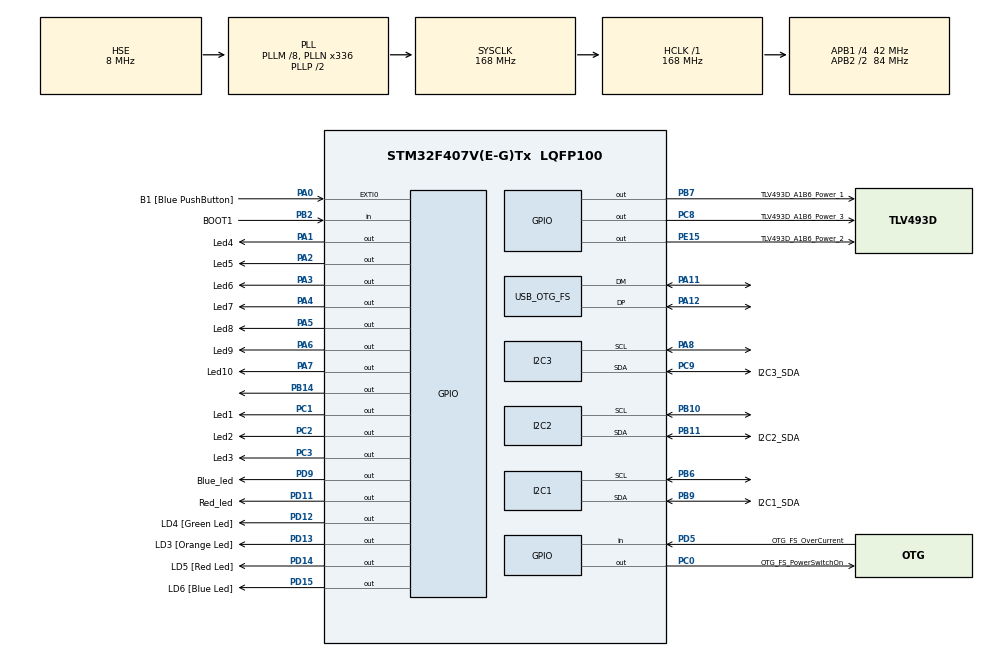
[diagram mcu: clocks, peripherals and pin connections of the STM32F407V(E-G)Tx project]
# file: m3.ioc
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I2C1.DutyCycle=I2C_DUTYCYCLE_2
I2C1.I2C_Mode=I2C_Fast
I2C1.NoStretchMode=I2C_NOSTRETCH_DISABLE
I2C2.I2C_Mode=I2C_Fast
I2C3.I2C_Mode=I2C_Fast
Mcu.Family=STM32F4
Mcu.Name=STM32F407V(E-G)Tx
Mcu.Package=LQFP100
NVIC.I2C1_ER_IRQn=true\:1\:2\:true\:false\:true\:true\:true\:true
NVIC.I2C1_EV_IRQn=true\:2\:2\:true\:false\:true\:true\:true\:true
NVIC.I2C2_ER_IRQn=true\:1\:2\:true\:false\:true\:true\:true\:true
NVIC.I2C2_EV_IRQn=true\:2\:2\:true\:false\:true\:true\:true\:true
NVIC.I2C3_ER_IRQn=true\:1\:2\:true\:false\:true\:true\:true\:true
NVIC.I2C3_EV_IRQn=true\:2\:2\:true\:false\:true\:true\:true\:true
NVIC.OTG_FS_IRQn=true\:1\:2\:true\:false\:true\:false\:true\:true
NVIC.PriorityGroup=NVIC_PRIORITYGROUP_2
NVIC.TIM1_CC_IRQn=true\:2\:2\:true\:false\:true\:true\:true\:false
NVIC.TIM1_UP_TIM10_IRQn=true\:2\:2\:true\:false\:true\:true\:true\:true
NVIC.TIM3_IRQn=true\:2\:2\:true\:false\:true\:true\:true\:true
NVIC.TIM5_IRQn=true\:2\:2\:true\:false\:true\:true\:true\:true
NVIC.TIM6_DAC_IRQn=true\:2\:2\:true\:false\:true\:true\:true\:true
NVIC.TIM7_IRQn=true\:2\:2\:true\:false\:true\:true\:true\:true
NVIC.TIM8_UP_TIM13_IRQn=true\:2\:2\:true\:false\:true\:true\:true\:true
PA0-WKUP.GPIO_Label=B1 [Blue PushButton]
PA0-WKUP.GPIO_ModeDefaultEXTI=GPIO_MODE_EVT_RISING
PA0-WKUP.GPIO_PuPd=GPIO_NOPULL
PA0-WKUP.Signal=GPXTI0
PA1.GPIO_Label=Led4
PA1.Signal=GPIO_Output
PA11.GPIO_Mode=GPIO_MODE_AF_PP
PA11.GPIO_PuPd=GPIO_NOPULL
PA11.GPIO_Speed=GPIO_SPEED_FREQ_VERY_HIGH
PA11.Mode=Device_Only
PA11.Signal=USB_OTG_FS_DM
PA12.GPIO_Mode=GPIO_MODE_AF_PP
PA12.GPIO_PuPd=GPIO_NOPULL
PA12.GPIO_Speed=GPIO_SPEED_FREQ_VERY_HIGH
PA12.Mode=Device_Only
PA12.Signal=USB_OTG_FS_DP
PA13.GPIO_Label=SWDIO
PA13.Mode=Serial_Wire
PA13.Signal=SYS_JTMS-SWDIO
PA14.GPIO_Label=SWCLK
PA14.Mode=Serial_Wire
PA14.Signal=SYS_JTCK-SWCLK
PA2.GPIO_Label=Led5
PA2.Signal=GPIO_Output
PA3.GPIO_Label=Led6
PA3.Signal=GPIO_Output
PA4.GPIO_Label=Led7
PA4.Signal=GPIO_Output
PA5.GPIO_Label=Led8
PA5.Signal=GPIO_Output
PA6.GPIO_Label=Led9
PA6.Signal=GPIO_Output
PA7.GPIO_Label=Led10
PA7.Signal=GPIO_Output
PA8.GPIO_Pu=GPIO_NOPULL
PA8.Mode=I2C
PA8.Signal=I2C3_SCL
PB10.GPIO_Pu=GPIO_NOPULL
PB10.Mode=I2C
PB10.Signal=I2C2_SCL
PB11.GPIO_Label=I2C2_SDA
PB11.GPIO_Pu=GPIO_NOPULL
PB11.Mode=I2C
PB11.Signal=I2C2_SDA
PB14.Signal=GPIO_Output
PB2.GPIO_Label=BOOT1
PB2.GPIO_Mode=GPIO_MODE_INPUT
PB2.GPIO_PuPd=GPIO_NOPULL
PB2.Signal=GPIO_Input
PB3.GPIO_Label=SWO
PB3.Signal=SYS_JTDO-SWO
PB6.GPIO_Pu=GPIO_NOPULL
PB6.GPIO_Speed=GPIO_SPEED_FREQ_VERY_HIGH
PB6.Mode=I2C
PB6.Signal=I2C1_SCL
PB7.GPIO_Label=TLV493D_A1B6_Power_1
PB7.Signal=GPIO_Output
PB9.GPIO_Label=I2C1_SDA
PB9.GPIO_Mode=GPIO_MODE_AF_OD
PB9.GPIO_Pu=GPIO_NOPULL
PB9.GPIO_PuPd=GPIO_NOPULL
PB9.GPIO_Speed=GPIO_SPEED_FREQ_VERY_HIGH
PB9.Mode=I2C
PB9.Signal=I2C1_SDA
PC0.GPIO_Label=OTG_FS_PowerSwitchOn
PC0.GPIO_PuPd=GPIO_NOPULL
PC0.GPIO_Speed=GPIO_SPEED_FREQ_LOW
PC0.PinState=GPIO_PIN_SET
PC0.Signal=GPIO_Output
PC1.GPIO_Label=Led1
PC1.Signal=GPIO_Output
PC14-OSC32_IN.GPIO_Label=PC14-OSC32_IN
PC14-OSC32_IN.Mode=LSE-External-Oscillator
PC14-OSC32_IN.Signal=RCC_OSC32_IN
PC15-OSC32_OUT.GPIO_Label=PC15-OSC32_OUT
PC15-OSC32_OUT.Mode=LSE-External-Oscillator
PC15-OSC32_OUT.Signal=RCC_OSC32_OUT
PC2.GPIO_Label=Led2
PC2.Signal=GPIO_Output
PC3.GPIO_Label=Led3
PC3.Signal=GPIO_Output
PC8.GPIO_Label=TLV493D_A1B6_Power_3
PC8.Signal=GPIO_Output
PC9.GPIO_Label=I2C3_SDA
PC9.GPIO_Pu=GPIO_NOPULL
PC9.Mode=I2C
PC9.Signal=I2C3_SDA
PD11.GPIO_Label=Red_led
PD11.GPIO_Speed=GPIO_SPEED_FREQ_VERY_HIGH
PD11.Signal=GPIO_Output
PD12.GPIO_Label=LD4 [Green Led]
PD12.GPIO_PuPd=GPIO_NOPULL
PD12.GPIO_Speed=GPIO_SPEED_FREQ_LOW
PD12.Signal=GPIO_Output
PD13.GPIO_Label=LD3 [Orange Led]
PD13.GPIO_PuPd=GPIO_NOPULL
PD13.GPIO_Speed=GPIO_SPEED_FREQ_LOW
PD13.Signal=GPIO_Output
PD14.GPIO_Label=LD5 [Red Led]
PD14.GPIO_PuPd=GPIO_NOPULL
PD14.GPIO_Speed=GPIO_SPEED_FREQ_LOW
PD14.Signal=GPIO_Output
PD15.GPIO_Label=LD6 [Blue Led]
PD15.GPIO_PuPd=GPIO_NOPULL
PD15.GPIO_Speed=GPIO_SPEED_FREQ_LOW
PD15.Signal=GPIO_Output
PD5.GPIO_Label=OTG_FS_OverCurrent
PD5.GPIO_Mode=GPIO_MODE_INPUT
PD5.GPIO_PuPd=GPIO_NOPULL
PD5.Signal=GPIO_Input
PD9.GPIO_Label=Blue_led
PD9.GPIO_Speed=GPIO_SPEED_FREQ_VERY_HIGH
PD9.Signal=GPIO_Output
PE15.GPIO_Label=TLV493D_A1B6_Power_2
PE15.Signal=GPIO_Output
PH0-OSC_IN.GPIO_Label=PH0-OSC_IN
PH0-OSC_IN.Mode=HSE-External-Oscillator
PH0-OSC_IN.Signal=RCC_OSC_IN
PH1-OSC_OUT.GPIO_Label=PH1-OSC_OUT
PH1-OSC_OUT.Mode=HSE-External-Oscillator
PH1-OSC_OUT.Signal=RCC_OSC_OUT
ProjectManager.HeapSize=0x200
ProjectManager.StackSize=0x400
ProjectManager.TargetToolchain=STM32CubeIDE
RCC.48MHZClocksFreq_Value=48000000
RCC.AHBFreq_Value=168000000
RCC.APB1CLKDivider=RCC_HCLK_DIV4
RCC.APB1Freq_Value=42000000
RCC.APB1TimFreq_Value=84000000
RCC.APB2CLKDivider=RCC_HCLK_DIV2
RCC.APB2Freq_Value=84000000
RCC.APB2TimFreq_Value=168000000
RCC.CortexFreq_Value=168000000
RCC.HCLKFreq_Value=168000000
RCC.HSE_VALUE=8000000
RCC.HSI_VALUE=16000000
RCC.PLLM=8
RCC.PLLN=336
RCC.PLLQ=7
RCC.RCC_RTC_Clock_Source=RCC_RTCCLKSOURCE_LSE
RCC.RCC_RTC_Clock_SourceVirtual=RCC_RTCCLKSOURCE_LSE
RCC.SYSCLKFreq_VALUE=168000000
RCC.SYSCLKSource=RCC_SYSCLKSOURCE_PLLCLK
RCC.VCOOutputFreq_Value=336000000
RTC.Date=27
RTC.Hours=1
RTC.Minutes=18
RTC.WeekDay=RTC_WEEKDAY_THURSDAY
RTC.Year=22
TIM1.AutoReloadPreload=TIM_AUTORELOAD_PRELOAD_DISABLE
TIM1.Channel-Output\ Compare1\ No\ Output=TIM_CHANNEL_1
TIM1.Channel-Output\ Compare2\ No\ Output=TIM_CHANNEL_2
TIM1.Channel-Output\ Compare3\ No\ Output=TIM_CHANNEL_3
TIM1.Channel-Output\ Compare4\ No\ Output=TIM_CHANNEL_4
TIM1.ClockDivision=TIM_CLOCKDIVISION_DIV1
TIM1.OC1Preload=DISABLE
TIM1.Prescaler=0
TIM1.Pulse-Output\ Compare1\ No\ Output=0
TIM1.Pulse-Output\ Compare2\ No\ Output=0
TIM1.Pulse-Output\ Compare3\ No\ Output=0
TIM1.Pulse-Output\ Compare4\ No\ Output=0
TIM1.RepetitionCounter=0
TIM1.TIM_MasterOutputTrigger=TIM_TRGO_UPDATE
TIM1.TIM_MasterSlaveMode=TIM_MASTERSLAVEMODE_ENABLE
TIM13.AutoReloadPreload=TIM_AUTORELOAD_PRELOAD_DISABLE
TIM13.ClockDivision=TIM_CLOCKDIVISION_DIV1
TIM13.Period=104
TIM13.Prescaler=83
TIM3.TIM_MasterOutputTrigger=TIM_TRGO_UPDATE
TIM3.TIM_MasterSlaveMode=TIM_MASTERSLAVEMODE_ENABLE
TIM5.Period=999
TIM5.Prescaler=83
TIM5.TIM_MasterOutputTrigger=TIM_TRGO_UPDATE
TIM5.TIM_MasterSlaveMode=TIM_MASTERSLAVEMODE_ENABLE
TIM6.AutoReloadPreload=TIM_AUTORELOAD_PRELOAD_DISABLE
TIM6.Period=104
TIM6.Prescaler=83
TIM7.AutoReloadPreload=TIM_AUTORELOAD_PRELOAD_DISABLE
TIM7.Period=104
TIM7.Prescaler=83
USB_DEVICE.CLASS_NAME_FS=CUSTOM_HID
USB_DEVICE.MANUFACTURER_STRING-CUSTOM_HID_FS=MagLight
USB_DEVICE.PRODUCT_STRING_CUSTOMHID_FS=m3
USB_DEVICE.USBD_CUSTOMHID_OUTREPORT_BUF_SIZE-CUSTOM_HID_FS=64
USB_DEVICE.USBD_CUSTOM_HID_REPORT_DESC_SIZE-CUSTOM_HID_FS=74
USB_DEVICE.VirtualMode-CUSTOM_HID_FS=CustomHid
USB_DEVICE.VirtualModeFS=Custom_Hid_FS
USB_OTG_FS.VirtualMode=Device_Only
VP_RTC_VS_RTC_Activate.Mode=RTC_Enabled
VP_RTC_VS_RTC_Calendar.Mode=RTC_Calendar
VP_TIM13_VS_ClockSourceINT.Mode=Enable_Timer
VP_TIM13_VS_OPM.Mode=OPM_bit
VP_TIM1_VS_ClockSourceITR.Mode=TriggerSource_ITR0
VP_TIM1_VS_ControllerModeClock.Mode=Clock Mode
VP_TIM1_VS_no_output1.Mode=Output Compare1 No Output
VP_TIM1_VS_no_output2.Mode=Output Compare2 No Output
VP_TIM1_VS_no_output3.Mode=Output Compare3 No Output
VP_TIM1_VS_no_output4.Mode=Output Compare4 No Output
VP_TIM3_VS_ClockSourceITR.Mode=TriggerSource_ITR2
VP_TIM3_VS_ControllerModeClock.Mode=Clock Mode
VP_TIM5_VS_ClockSourceINT.Mode=Internal
VP_TIM6_VS_ClockSourceINT.Mode=Enable_Timer
VP_TIM6_VS_OPM.Mode=OPM_bit
VP_TIM7_VS_ClockSourceINT.Mode=Enable_Timer
VP_TIM7_VS_OPM.Mode=OPM_bit
VP_USB_DEVICE_VS_USB_DEVICE_CUSTOM_HID_FS.Mode=CUSTOM_HID_FS
board=STM32F407G-DISC1

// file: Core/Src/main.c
/* USER CODE BEGIN Header */
/**
  ******************************************************************************
  * @file           : main.c
  * @brief          : Main program body
  ******************************************************************************
  * @attention
  *
  * Copyright (c) 2021 STMicroelectronics.
  * All rights reserved.
  *
  * This software is licensed under terms that can be found in the LICENSE file
  * in the root directory of this software component.
  * If no LICENSE file comes with this software, it is provided AS-IS.
  *
  ******************************************************************************
  */
/* USER CODE END Header */
#include "main.h"
#include "usb_device.h"

/* USER CODE BEGIN Includes */
#include <stdbool.h>
#include "usbd_customhid.h"
#include "QMC5883L.h"
#include "TLV493D_A1B6.h"
/* USER CODE END Includes */

I2C_HandleTypeDef hi2c1;
I2C_HandleTypeDef hi2c2;
I2C_HandleTypeDef hi2c3;

RTC_HandleTypeDef hrtc;

TIM_HandleTypeDef htim1;
TIM_HandleTypeDef htim3;
TIM_HandleTypeDef htim5;
TIM_HandleTypeDef htim6;
TIM_HandleTypeDef htim7;
TIM_HandleTypeDef htim13;

void SystemClock_Config(void);
static void MX_GPIO_Init(void);
static void MX_RTC_Init(void);
static void MX_TIM5_Init(void);
static void MX_TIM6_Init(void);
static void MX_TIM7_Init(void);
static void MX_TIM13_Init(void);
static void MX_TIM3_Init(void);
static void MX_TIM1_Init(void);
static void MX_I2C1_Init(void);
static void MX_I2C3_Init(void);
static void MX_I2C2_Init(void);

/* USER CODE BEGIN 0 */
CCMRAM static RTC_TimeTypeDef l_time;
CCMRAM static RTC_DateTypeDef l_date;

CCMRAM uint8_t l_report[D_ANSWER_LENGTH];
CCMIDATA uint8_t l_debug[D_DEBUG_LENGTH] = {7, 9};
CCMIDATA uint16_t l_dbg_pos		= D_DEBUG_START_POSITION;
CCMIDATA t_error l_error		= no_error;
CCMRAM uint8_t l_command		= 0;
CCMRAM t_sensors_on_points l_sensors_points;
CCMRAM t_off_on_slots_tick l_slots_tick;
CCMRAM uint8_t l_leds_off;

#define D_WAIT_MEASURE_QMC5883L 1050;
#define D_WAIT_MEASURE_TLV493D_A1B6 104;

#define i2c_dbg(x, y)					\
	dbg(x)								\
	dbg((y == &l_i2c1_ext) ? 1			\
		: (y == &l_i2c2_ext) ? 2		\
		: (y == &l_i2c3_ext) ? 3		\
		: 0								\
	)									\
	dbg(y->state)

#define get_i2c_ext_dbg(x, y)						\
	t_i2c_ext * const y =						\
			(p_hi2c == &hi2c1) ? &l_i2c1_ext	\
		:	(p_hi2c == &hi2c2) ? &l_i2c2_ext	\
		:	&l_i2c3_ext;						\
	i2c_dbg(x, y)

extern void need_send_data();

//Magnet sensors data array l_report:
//0 - USB report ID = 1 - MC output data
//1 - application report ID = 20 magnet sensors data
//2 .. 9 - time and day
//I2C1 data:
//10 .. 16 - QMC5883L #1 data
//17 .. 23 - TLV493D-A1B6 #1 data
//24 .. 30 - TLV493D-A1B6 #2 data
//31	   - error
//I2C2 data:
//32 .. 38 - QMC5883L #2 data
//39 .. 45 - TLV493D-A1B6 #3 data
//46 .. 52 - TLV493D-A1B6 #4 data
//53	   - error
//I2C3 data:
//54 .. 60 - TLV493D-A1B6 #5 data
//61 .. 67 - TLV493D-A1B6 #6 data
//68	   - error
//69	   - global error
//70	   - current sensors on point number
								//i2c ref,	state,		timer, QMC5883L data begin,		 first TLV493D-A1B6 data begin and i2c address,		  second TLV493D-A1B6 data begin and i2c address,		error
CCMIDATA t_i2c_ext l_i2c1_ext = {&hi2c1,	init_state,		0, (uint8_t *)&l_report[10], (uint8_t *)&l_report[17], TLV493D_A1B6_Slave_3_addr, (uint8_t *)&l_report[24], TLV493D_A1B6_Slave_7_addr,	no_error};
CCMIDATA t_i2c_ext l_i2c2_ext = {&hi2c2,	init_state,		0, (uint8_t *)&l_report[32], (uint8_t *)&l_report[39], TLV493D_A1B6_Slave_3_addr, (uint8_t *)&l_report[46], TLV493D_A1B6_Slave_7_addr,	no_error};
CCMIDATA t_i2c_ext l_i2c3_ext = {&hi2c3,	init_state,		0,						  0, (uint8_t *)&l_report[54], TLV493D_A1B6_Slave_3_addr, (uint8_t *)&l_report[61], TLV493D_A1B6_Slave_7_addr,	no_error};

extern USBD_ClassTypeDef  USBD_CUSTOM_HID;

void error(t_i2c_ext * const p_i2c_ext, t_error const p_err) {
	TIM5->CR1 &= ~TIM_CR1_CEN;
	TIM5->SR = 0;

	TIM1->CR1 &= ~TIM_CR1_CEN;
	TIM1->SR = 0;

	TIM3->CR1 &= ~TIM_CR1_CEN;
	TIM3->SR = 0;

	l_i2c1_ext.timer->CR1 &= ~TIM_CR1_CEN;
	l_i2c1_ext.timer->SR = 0;

	l_i2c2_ext.timer->CR1 &= ~TIM_CR1_CEN;
	l_i2c2_ext.timer->SR = 0;

	l_i2c3_ext.timer->CR1 &= ~TIM_CR1_CEN;
	l_i2c3_ext.timer->SR = 0;

	HAL_GPIO_WritePin(GPIOD, GPIO_PIN_14, GPIO_PIN_SET);

	if (p_i2c_ext == 0) {
		if (no_error == l_error)
			l_error = p_err;
	} else {
		p_i2c_ext->error = p_err;
	}

	dbg(88)
	dbg(p_err)

	need_send_data();
}

static void init_variables_in_ccmram() {
	l_debug[0]		= 7;
	l_debug[1]		= 9;
	l_dbg_pos		= D_DEBUG_START_POSITION;
	l_error			= no_error;
	l_command		= 0;

	l_i2c1_ext = (t_i2c_ext){&hi2c1,	init_state,	htim6.Instance, (uint8_t *)&l_report[10], (uint8_t *)&l_report[17], TLV493D_A1B6_Slave_3_addr, (uint8_t *)&l_report[24], TLV493D_A1B6_Slave_7_addr,	no_error};
	l_i2c2_ext = (t_i2c_ext){&hi2c2,	init_state,	htim7.Instance, (uint8_t *)&l_report[32], (uint8_t *)&l_report[39], TLV493D_A1B6_Slave_3_addr, (uint8_t *)&l_report[46], TLV493D_A1B6_Slave_7_addr,	no_error};
	l_i2c3_ext = (t_i2c_ext){&hi2c3,	init_state,	htim13.Instance,                       0, (uint8_t *)&l_report[54], TLV493D_A1B6_Slave_3_addr, (uint8_t *)&l_report[61], TLV493D_A1B6_Slave_7_addr,	no_error};
}

//Copy from usbd_customhid.c and added user code
static uint8_t USBD_CUSTOM_HID_DataIn(USBD_HandleTypeDef *pdev, uint8_t epnum)
{
  UNUSED(epnum);

  /* Ensure that the FIFO is empty before a new transfer, this condition could
  be caused by  a new transfer before the end of the previous transfer */
  ((USBD_CUSTOM_HID_HandleTypeDef *)pdev->pClassDataCmsit[pdev->classId])->state = CUSTOM_HID_IDLE;

	//user code begin
	if (	9 == l_command		//GET_DEBUG_DATA
	){
		memset(l_debug, 0, D_DEBUG_LENGTH);
		l_dbg_pos	= D_DEBUG_START_POSITION;
		l_debug[0]	= 7;
		l_debug[1]	= 9;
	}
	//user code end

  return (uint8_t)USBD_OK;
}

void save_errors_in_report() {
	l_report[31] = l_i2c1_ext.error;
	l_report[53] = l_i2c2_ext.error;
	l_report[68] = l_i2c3_ext.error;
	l_report[69] = l_error;
}

void static inline get_time() {
	HAL_RTC_GetTime(&hrtc, &l_time, RTC_FORMAT_BCD);
	HAL_RTC_GetDate(&hrtc, &l_date, RTC_FORMAT_BCD);

	l_report[2] = l_time.Hours;
	l_report[3] = l_time.Minutes;
	l_report[4] = l_time.Seconds;
	l_report[5] = l_time.SubSeconds >> 8;
	l_report[6] = l_time.SubSeconds;
	l_report[7] = l_time.SecondFraction >> 8;
	l_report[8] = l_time.SecondFraction;
	l_report[9] = l_date.Date;
}

void do_next(t_i2c_ext * const p_i2c_ext) {
	i2c_dbg(22, p_i2c_ext)

	I2C_HandleTypeDef * const l_hi2c = p_i2c_ext->i2c_pointer;

	switch (p_i2c_ext->state) {
		case init_state:
			if (QMC5883L_set_continuous_mode(l_hi2c) == HAL_OK)
				p_i2c_ext->state = set_continuous_mode_QMC5883L;
			else
				error(p_i2c_ext, set_continuous_mode_QMC5883L_error);

			break;
		case set_continuous_mode_QMC5883L:
			p_i2c_ext->timer->ARR = D_WAIT_MEASURE_QMC5883L;
			p_i2c_ext->timer->CR1 |= TIM_CR1_CEN;

			p_i2c_ext->state = start_timer_QMC5883L;

			break;
		case start_timer_QMC5883L:
			if (QMC5883L_read(l_hi2c, p_i2c_ext->QMC5883L_array_pointer) == HAL_OK)			//get magnetic induction
				p_i2c_ext->state = read_QMC5883L;
			else
				error(p_i2c_ext, read_QMC5883L_error);

			break;
		case read_QMC5883L:
			if (QMC5883L_set_standby_mode(l_hi2c) == HAL_OK)
				p_i2c_ext->state = set_standby_mode_QMC5883L;
			else
				error(p_i2c_ext, set_standby_mode_QMC5883L_error);

			break;
		case set_standby_mode_QMC5883L:
			if (TLV493D_A1B6_preread(l_hi2c, p_i2c_ext->first_TLV493D_A1B6_address) == HAL_OK)
				p_i2c_ext->state = preread_first_TLV493D_A1B6;
			else
				error(p_i2c_ext, preread_first_TLV493D_A1B6_error);

			break;
		case preread_first_TLV493D_A1B6:
			if (TLV493D_A1B6_preread(l_hi2c, p_i2c_ext->second_TLV493D_A1B6_address) == HAL_OK)
				p_i2c_ext->state = preread_second_TLV493D_A1B6;
			else
				error(p_i2c_ext, preread_second_TLV493D_A1B6_error);

			break;
		case preread_second_TLV493D_A1B6:
			p_i2c_ext->timer->ARR = D_WAIT_MEASURE_TLV493D_A1B6;
			p_i2c_ext->timer->CR1 |= TIM_CR1_CEN;

			p_i2c_ext->state = start_timer_TLV493D_A1B6;

			break;
		case start_timer_TLV493D_A1B6:
			if (TLV493D_A1B6_read(l_hi2c, p_i2c_ext->first_TLV493D_A1B6_address, p_i2c_ext->first_TLV493D_A1B6_array_pointer) == HAL_OK)
				p_i2c_ext->state = read_first_TLV493D_A1B6;
			else
				error(p_i2c_ext, read_first_TLV493D_A1B6_error);

			break;
		case read_first_TLV493D_A1B6:
			if (TLV493D_A1B6_read(l_hi2c, p_i2c_ext->second_TLV493D_A1B6_address, p_i2c_ext->second_TLV493D_A1B6_array_pointer) == HAL_OK)
				p_i2c_ext->state = read_second_TLV493D_A1B6;
			else
				error(p_i2c_ext, read_second_TLV493D_A1B6_error);

			break;
		case read_second_TLV493D_A1B6:
			p_i2c_ext->state = data_ready;

			if (	data_ready == l_i2c1_ext.state
				&&	data_ready == l_i2c2_ext.state
				&&	data_ready == l_i2c3_ext.state
			)
				need_send_data();

			break;
		default:
			error(p_i2c_ext, unsupported_state_in_do_next);
	}

}

void HAL_I2C_ErrorCallback(I2C_HandleTypeDef * p_hi2c) {
	if (HAL_I2C_GetError(p_hi2c) != HAL_I2C_ERROR_AF) {
		get_i2c_ext_dbg(87, l_i2c_ext)

		error(l_i2c_ext, i2c_error);

		Error_Handler();
	}
}

void HAL_I2C_MasterTxCpltCallback(I2C_HandleTypeDef * p_hi2c) {
	get_i2c_ext_dbg(30, l_i2c_ext)

	switch (l_i2c_ext->state) {
		case set_continuous_mode_QMC5883L:
		case set_standby_mode_QMC5883L:
			do_next(l_i2c_ext);

			break;
		default:
			error(l_i2c_ext, unsupported_state_after_i2c_transmit);
	}
}

void HAL_I2C_MemRxCpltCallback(I2C_HandleTypeDef * p_hi2c) {
	HAL_I2C_MasterRxCpltCallback(p_hi2c);
}

void HAL_I2C_MasterRxCpltCallback(I2C_HandleTypeDef * p_hi2c) {	// I2C data ready!
	get_i2c_ext_dbg(40, l_i2c_ext)

	switch (l_i2c_ext->state) {
		case read_QMC5883L:
		case preread_first_TLV493D_A1B6:
		case preread_second_TLV493D_A1B6:
		case read_first_TLV493D_A1B6:
		case read_second_TLV493D_A1B6:
			do_next(l_i2c_ext);

			break;
		default:
			error(l_i2c_ext, unsupported_state_after_i2c_receive);
	}
}

void HAL_TIM_OC_DelayElapsedCallback(TIM_HandleTypeDef * p_htim) {
	dbg(50)
	dbg(p_htim ->Channel)

	#define set_ccr(n) TIM1->CCR##n = l_sensors_points.on_points_word_arr[l_sensors_points.current_point_index]; break;

	if (l_sensors_points.current_point_index < l_sensors_points.number_of_poits) {
		switch (l_sensors_points.current_point_index % 4) {
			case 0: set_ccr(1)
			case 1: set_ccr(2)
			case 2: set_ccr(3)
			case 3: set_ccr(4)
		}

		l_sensors_points.current_point_index++;
	}

	l_sensors_points.point_number++;

	do_read();
}

void HAL_TIM_PeriodElapsedCallback(TIM_HandleTypeDef *p_htim) {
	static uint16_t	l_slots;

	if (p_htim == &htim5) {
		return;

	} else if (p_htim == &htim1) {
		dbg(60)

		l_sensors_points.point_number = 0;

		if (l_sensors_points.number_of_poits > 4)
			init_compare_registers_for_sensors_timer();

		return;
	} else if (p_htim == &htim3) {
		dbg(61)

		if (l_leds_off)
			return;

		#define slot_reset(a)								\
			if (l_slots & 1U << (a - 1))					\
				Led##a##_GPIO_Port->BSRR = (uint32_t) Led##a##_Pin << 16U;

		#define slot_set(a)									\
			if (l_slots & 1U << (a - 1))					\
				Led##a##_GPIO_Port->BSRR = Led##a##_Pin;

		l_slots	= l_slots_tick.tick[l_slots_tick.current_tick].off_slots;

		slot_reset(10)
		slot_reset(9)
		slot_reset(8)
		slot_reset(7)
		slot_reset(6)
		slot_reset(5)
		slot_reset(4)
		slot_reset(3)
		slot_reset(2)
		slot_reset(1)

		l_slots	= l_slots_tick.tick[l_slots_tick.current_tick].on_slots;

		slot_set(10)
		slot_set(9)
		slot_set(8)
		slot_set(7)
		slot_set(6)
		slot_set(5)
		slot_set(4)
		slot_set(3)
		slot_set(2)
		slot_set(1)

		l_slots_tick.current_tick++;

		if (l_slots_tick.current_tick >= l_slots_tick.number_of_ticks)
			l_slots_tick.current_tick = 0;

		HAL_GPIO_TogglePin(GPIOD, GPIO_PIN_13);

		return;
	}

	TIM_TypeDef * const l_timer = p_htim->Instance;
	t_i2c_ext * const l_i2c_ext =
			(l_timer == l_i2c1_ext.timer) ? &l_i2c1_ext
		:	(l_timer == l_i2c2_ext.timer) ? &l_i2c2_ext
		:	(l_timer == l_i2c3_ext.timer) ? &l_i2c3_ext
		:	0;

	if (0 == l_i2c_ext) {
		error(0, unknown_timer);

		return;
	}

	i2c_dbg(62, l_i2c_ext)

	do_next(l_i2c_ext);
}

void do_read() {
	if (	l_i2c1_ext.state != init_state
		||	l_i2c2_ext.state != init_state
		||	l_i2c3_ext.state != init_state
	) {
		error(0, not_all_state_is_init_state);
	} else {
		do_next(&l_i2c1_ext);
		do_next(&l_i2c2_ext);

		l_i2c3_ext.state = set_standby_mode_QMC5883L;
		do_next(&l_i2c3_ext);

		//get_time();		//get time from RTC
	}
}

void QMC5883L_soft_reset_and_init(t_i2c_ext * p_i2c_ext) {
	if (QMC5883L_soft_reset(p_i2c_ext->i2c_pointer) == HAL_OK) {
		if (QMC5883L_init(p_i2c_ext->i2c_pointer) != HAL_OK)
			error(p_i2c_ext, init_QMC5883L_error);
 	} else
		error(p_i2c_ext, soft_reset_QMC5883L_error);
}

void TLV493D_A1B6_init(t_i2c_ext * p_i2c_ext) {
	if (TLV493D_A1B6_set_mode(p_i2c_ext->i2c_pointer, p_i2c_ext->first_TLV493D_A1B6_address, 0) != HAL_OK) {
		error(p_i2c_ext, set_mode_first_TLV493D_A1B6_error);

		return;
	}

	if (TLV493D_A1B6_set_mode(p_i2c_ext->i2c_pointer, p_i2c_ext->second_TLV493D_A1B6_address, 0) != HAL_OK) {
		error(p_i2c_ext, set_mode_second_TLV493D_A1B6_error);

		return;
	}
}
/* USER CODE END 0 */

int main(void)
{

  /* MCU Configuration--------------------------------------------------------*/

  /* Reset of all peripherals, Initializes the Flash interface and the Systick. */
  HAL_Init();

  /* Configure the system clock */
  SystemClock_Config();

  /* Initialize all configured peripherals */
  MX_GPIO_Init();
  MX_RTC_Init();
  MX_USB_DEVICE_Init();
  MX_TIM5_Init();
  MX_TIM6_Init();
  MX_TIM7_Init();
  MX_TIM13_Init();
  MX_TIM3_Init();
  MX_TIM1_Init();
  MX_I2C1_Init();
  MX_I2C3_Init();
  MX_I2C2_Init();
  /* USER CODE BEGIN 2 */
	//Init_OnBoard_LEDs(); // calls LEDs GPIO pins initialization function
	//configure_Button(); // call Push button GPIO pins initialization function
	//GPIO_PinState state; // Define a enum struct which contain boolean states
    HAL_GPIO_WritePin(GPIOD, GPIO_PIN_12, GPIO_PIN_SET);
  	init_variables_in_ccmram();

  	TIM5->SR = 0;
	//TIM5->DIER = TIM_IT_UPDATE;

	TIM3->SR = 0;
	TIM3->DIER = TIM_IT_UPDATE;

	TIM6->SR = 0;
	TIM6->DIER = TIM_IT_UPDATE;

	TIM7->SR = 0;
	TIM7->DIER = TIM_IT_UPDATE;

	TIM13->SR = 0;
	TIM13->DIER = TIM_IT_UPDATE;

	USBD_CUSTOM_HID.DataIn = USBD_CUSTOM_HID_DataIn;

	TLV493D_A1B6_init(&l_i2c1_ext);
	TLV493D_A1B6_init(&l_i2c2_ext);
	TLV493D_A1B6_init(&l_i2c3_ext);

	QMC5883L_soft_reset_and_init(&l_i2c1_ext);
	QMC5883L_soft_reset_and_init(&l_i2c2_ext);

	HAL_Delay(1);

    HAL_GPIO_WritePin(GPIOD, GPIO_PIN_12, GPIO_PIN_RESET);
	//do_read();

	//HAL_GPIO_WritePin(Led1_GPIO_Port, Led1_Pin, GPIO_PIN_SET);
	//HAL_GPIO_WritePin(Led6_GPIO_Port, Led6_Pin, GPIO_PIN_SET);

	/*if (HAL_I2C_Master_Receive(&hi2c2, l_i2c2_ext.first_TLV493D_A1B6_address, l_i2c2_ext.first_TLV493D_A1B6_array_pointer, 7, TLV493D_A1B6_I2C_timeout) != HAL_OK)
		HAL_GPIO_WritePin(GPIOD, GPIO_PIN_14, GPIO_PIN_SET);
	else
		HAL_GPIO_WritePin(GPIOD, GPIO_PIN_12, GPIO_PIN_SET);*/
  /* USER CODE END 2 */

  /* Infinite loop */
  /* USER CODE BEGIN WHILE */
  while (1)
  {
    //HAL_PWR_EnableSleepOnExit();
    //HAL_PWR_EnterSLEEPMode(PWR_MAINREGULATOR_ON, PWR_SLEEPENTRY_WFI);
    /* USER CODE END WHILE */

    /* USER CODE BEGIN 3 */
	//dbg(80);
	//HAL_Delay(1000);
  }
  /* USER CODE END 3 */
}

void SystemClock_Config(void)
{
  RCC_OscInitTypeDef RCC_OscInitStruct = {0};
  RCC_ClkInitTypeDef RCC_ClkInitStruct = {0};

  /** Configure the main internal regulator output voltage
  */
  __HAL_RCC_PWR_CLK_ENABLE();
  __HAL_PWR_VOLTAGESCALING_CONFIG(PWR_REGULATOR_VOLTAGE_SCALE1);

  /** Initializes the RCC Oscillators according to the specified parameters
  * in the RCC_OscInitTypeDef structure.
  */
  RCC_OscInitStruct.OscillatorType = RCC_OSCILLATORTYPE_HSE|RCC_OSCILLATORTYPE_LSE;
  RCC_OscInitStruct.HSEState = RCC_HSE_ON;
  RCC_OscInitStruct.LSEState = RCC_LSE_ON;
  RCC_OscInitStruct.PLL.PLLState = RCC_PLL_ON;
  RCC_OscInitStruct.PLL.PLLSource = RCC_PLLSOURCE_HSE;
  RCC_OscInitStruct.PLL.PLLM = 8;
  RCC_OscInitStruct.PLL.PLLN = 336;
  RCC_OscInitStruct.PLL.PLLP = RCC_PLLP_DIV2;
  RCC_OscInitStruct.PLL.PLLQ = 7;
  if (HAL_RCC_OscConfig(&RCC_OscInitStruct) != HAL_OK)
  {
    Error_Handler();
  }

  /** Initializes the CPU, AHB and APB buses clocks
  */
  RCC_ClkInitStruct.ClockType = RCC_CLOCKTYPE_HCLK|RCC_CLOCKTYPE_SYSCLK
                              |RCC_CLOCKTYPE_PCLK1|RCC_CLOCKTYPE_PCLK2;
  RCC_ClkInitStruct.SYSCLKSource = RCC_SYSCLKSOURCE_PLLCLK;
  RCC_ClkInitStruct.AHBCLKDivider = RCC_SYSCLK_DIV1;
  RCC_ClkInitStruct.APB1CLKDivider = RCC_HCLK_DIV4;
  RCC_ClkInitStruct.APB2CLKDivider = RCC_HCLK_DIV2;

  if (HAL_RCC_ClockConfig(&RCC_ClkInitStruct, FLASH_LATENCY_5) != HAL_OK)
  {
    Error_Handler();
  }
}

static void MX_I2C1_Init(void)
{

  /* USER CODE BEGIN I2C1_Init 0 */
  {
	GPIO_InitTypeDef GPIO_InitStruct = {0};

	GPIO_InitStruct.Pin = I2C1_SDA_Pin;
	GPIO_InitStruct.Mode = GPIO_MODE_OUTPUT_PP;
	GPIO_InitStruct.Pull = GPIO_NOPULL;
	GPIO_InitStruct.Speed = GPIO_SPEED_FREQ_LOW;
	HAL_GPIO_Init(I2C1_SDA_GPIO_Port, &GPIO_InitStruct);
  }

  HAL_GPIO_WritePin(I2C1_SDA_GPIO_Port, I2C1_SDA_Pin, GPIO_PIN_RESET);
  HAL_GPIO_WritePin(TLV493D_A1B6_Power_1_GPIO_Port, TLV493D_A1B6_Power_1_Pin, GPIO_PIN_SET);

  HAL_Delay(1);

  HAL_GPIO_WritePin(I2C1_SDA_GPIO_Port, I2C1_SDA_Pin, GPIO_PIN_SET);
  /* USER CODE END I2C1_Init 0 */

  hi2c1.Instance = I2C1;
  hi2c1.Init.ClockSpeed = 400000;
  hi2c1.Init.DutyCycle = I2C_DUTYCYCLE_2;
  hi2c1.Init.OwnAddress1 = 0;
  hi2c1.Init.AddressingMode = I2C_ADDRESSINGMODE_7BIT;
  hi2c1.Init.DualAddressMode = I2C_DUALADDRESS_DISABLE;
  hi2c1.Init.OwnAddress2 = 0;
  hi2c1.Init.GeneralCallMode = I2C_GENERALCALL_DISABLE;
  hi2c1.Init.NoStretchMode = I2C_NOSTRETCH_DISABLE;
  if (HAL_I2C_Init(&hi2c1) != HAL_OK)
  {
    Error_Handler();
  }

}

static void MX_I2C2_Init(void)
{

  /* USER CODE BEGIN I2C2_Init 0 */
  {
	GPIO_InitTypeDef GPIO_InitStruct = {0};

	GPIO_InitStruct.Pin = I2C2_SDA_Pin;
	GPIO_InitStruct.Mode = GPIO_MODE_OUTPUT_PP;
	GPIO_InitStruct.Pull = GPIO_NOPULL;
	GPIO_InitStruct.Speed = GPIO_SPEED_FREQ_LOW;
	HAL_GPIO_Init(I2C2_SDA_GPIO_Port, &GPIO_InitStruct);
  }

  HAL_GPIO_WritePin(I2C2_SDA_GPIO_Port, I2C2_SDA_Pin, GPIO_PIN_RESET);
  HAL_GPIO_WritePin(TLV493D_A1B6_Power_2_GPIO_Port, TLV493D_A1B6_Power_2_Pin, GPIO_PIN_SET);

  HAL_Delay(1);

  HAL_GPIO_WritePin(I2C2_SDA_GPIO_Port, I2C2_SDA_Pin, GPIO_PIN_SET);
  /* USER CODE END I2C2_Init 0 */

  hi2c2.Instance = I2C2;
  hi2c2.Init.ClockSpeed = 400000;
  hi2c2.Init.DutyCycle = I2C_DUTYCYCLE_2;
  hi2c2.Init.OwnAddress1 = 0;
  hi2c2.Init.AddressingMode = I2C_ADDRESSINGMODE_7BIT;
  hi2c2.Init.DualAddressMode = I2C_DUALADDRESS_DISABLE;
  hi2c2.Init.OwnAddress2 = 0;
  hi2c2.Init.GeneralCallMode = I2C_GENERALCALL_DISABLE;
  hi2c2.Init.NoStretchMode = I2C_NOSTRETCH_DISABLE;
  if (HAL_I2C_Init(&hi2c2) != HAL_OK)
  {
    Error_Handler();
  }

}

static void MX_I2C3_Init(void)
{

  /* USER CODE BEGIN I2C3_Init 0 */
  {
	GPIO_InitTypeDef GPIO_InitStruct = {0};

	GPIO_InitStruct.Pin = I2C3_SDA_Pin;
	GPIO_InitStruct.Mode = GPIO_MODE_OUTPUT_PP;
	GPIO_InitStruct.Pull = GPIO_NOPULL;
	GPIO_InitStruct.Speed = GPIO_SPEED_FREQ_LOW;
	HAL_GPIO_Init(I2C3_SDA_GPIO_Port, &GPIO_InitStruct);
  }

  HAL_GPIO_WritePin(I2C3_SDA_GPIO_Port, I2C3_SDA_Pin, GPIO_PIN_RESET);
  HAL_GPIO_WritePin(TLV493D_A1B6_Power_3_GPIO_Port, TLV493D_A1B6_Power_3_Pin, GPIO_PIN_SET);

  HAL_Delay(1);

  HAL_GPIO_WritePin(I2C3_SDA_GPIO_Port, I2C3_SDA_Pin, GPIO_PIN_SET);
  /* USER CODE END I2C3_Init 0 */

  hi2c3.Instance = I2C3;
  hi2c3.Init.ClockSpeed = 400000;
  hi2c3.Init.DutyCycle = I2C_DUTYCYCLE_2;
  hi2c3.Init.OwnAddress1 = 0;
  hi2c3.Init.AddressingMode = I2C_ADDRESSINGMODE_7BIT;
  hi2c3.Init.DualAddressMode = I2C_DUALADDRESS_DISABLE;
  hi2c3.Init.OwnAddress2 = 0;
  hi2c3.Init.GeneralCallMode = I2C_GENERALCALL_DISABLE;
  hi2c3.Init.NoStretchMode = I2C_NOSTRETCH_DISABLE;
  if (HAL_I2C_Init(&hi2c3) != HAL_OK)
  {
    Error_Handler();
  }

}

static void MX_RTC_Init(void)
{

  RTC_TimeTypeDef sTime = {0};
  RTC_DateTypeDef sDate = {0};

  /** Initialize RTC Only
  */
  hrtc.Instance = RTC;
  hrtc.Init.HourFormat = RTC_HOURFORMAT_24;
  hrtc.Init.AsynchPrediv = 127;
  hrtc.Init.SynchPrediv = 255;
  hrtc.Init.OutPut = RTC_OUTPUT_DISABLE;
  hrtc.Init.OutPutPolarity = RTC_OUTPUT_POLARITY_HIGH;
  hrtc.Init.OutPutType = RTC_OUTPUT_TYPE_OPENDRAIN;
  if (HAL_RTC_Init(&hrtc) != HAL_OK)
  {
    Error_Handler();
  }

  /** Initialize RTC and set the Time and Date
  */
  sTime.Hours = 0x1;
  sTime.Minutes = 0x18;
  sTime.Seconds = 0x0;
  sTime.DayLightSaving = RTC_DAYLIGHTSAVING_NONE;
  sTime.StoreOperation = RTC_STOREOPERATION_RESET;
  if (HAL_RTC_SetTime(&hrtc, &sTime, RTC_FORMAT_BCD) != HAL_OK)
  {
    Error_Handler();
  }
  sDate.WeekDay = RTC_WEEKDAY_THURSDAY;
  sDate.Month = RTC_MONTH_JANUARY;
  sDate.Date = 0x27;
  sDate.Year = 0x22;

  if (HAL_RTC_SetDate(&hrtc, &sDate, RTC_FORMAT_BCD) != HAL_OK)
  {
    Error_Handler();
  }

}

static void MX_TIM1_Init(void)
{

  TIM_SlaveConfigTypeDef sSlaveConfig = {0};
  TIM_MasterConfigTypeDef sMasterConfig = {0};
  TIM_OC_InitTypeDef sConfigOC = {0};
  TIM_BreakDeadTimeConfigTypeDef sBreakDeadTimeConfig = {0};

  htim1.Instance = TIM1;
  htim1.Init.Prescaler = 0;
  htim1.Init.CounterMode = TIM_COUNTERMODE_UP;
  htim1.Init.Period = 65535;
  htim1.Init.ClockDivision = TIM_CLOCKDIVISION_DIV1;
  htim1.Init.RepetitionCounter = 0;
  htim1.Init.AutoReloadPreload = TIM_AUTORELOAD_PRELOAD_DISABLE;
  if (HAL_TIM_Base_Init(&htim1) != HAL_OK)
  {
    Error_Handler();
  }
  if (HAL_TIM_OC_Init(&htim1) != HAL_OK)
  {
    Error_Handler();
  }
  sSlaveConfig.SlaveMode = TIM_SLAVEMODE_EXTERNAL1;
  sSlaveConfig.InputTrigger = TIM_TS_ITR0;
  if (HAL_TIM_SlaveConfigSynchro(&htim1, &sSlaveConfig) != HAL_OK)
  {
    Error_Handler();
  }
  sMasterConfig.MasterOutputTrigger = TIM_TRGO_UPDATE;
  sMasterConfig.MasterSlaveMode = TIM_MASTERSLAVEMODE_ENABLE;
  if (HAL_TIMEx_MasterConfigSynchronization(&htim1, &sMasterConfig) != HAL_OK)
  {
    Error_Handler();
  }
  sConfigOC.OCMode = TIM_OCMODE_TIMING;
  sConfigOC.Pulse = 0;
  sConfigOC.OCPolarity = TIM_OCPOLARITY_HIGH;
  sConfigOC.OCNPolarity = TIM_OCNPOLARITY_HIGH;
  sConfigOC.OCFastMode = TIM_OCFAST_DISABLE;
  sConfigOC.OCIdleState = TIM_OCIDLESTATE_RESET;
  sConfigOC.OCNIdleState = TIM_OCNIDLESTATE_RESET;
  if (HAL_TIM_OC_ConfigChannel(&htim1, &sConfigOC, TIM_CHANNEL_1) != HAL_OK)
  {
    Error_Handler();
  }
  if (HAL_TIM_OC_ConfigChannel(&htim1, &sConfigOC, TIM_CHANNEL_2) != HAL_OK)
  {
    Error_Handler();
  }
  if (HAL_TIM_OC_ConfigChannel(&htim1, &sConfigOC, TIM_CHANNEL_3) != HAL_OK)
  {
    Error_Handler();
  }
  if (HAL_TIM_OC_ConfigChannel(&htim1, &sConfigOC, TIM_CHANNEL_4) != HAL_OK)
  {
    Error_Handler();
  }
  sBreakDeadTimeConfig.OffStateRunMode = TIM_OSSR_DISABLE;
  sBreakDeadTimeConfig.OffStateIDLEMode = TIM_OSSI_DISABLE;
  sBreakDeadTimeConfig.LockLevel = TIM_LOCKLEVEL_OFF;
  sBreakDeadTimeConfig.DeadTime = 0;
  sBreakDeadTimeConfig.BreakState = TIM_BREAK_DISABLE;
  sBreakDeadTimeConfig.BreakPolarity = TIM_BREAKPOLARITY_HIGH;
  sBreakDeadTimeConfig.AutomaticOutput = TIM_AUTOMATICOUTPUT_DISABLE;
  if (HAL_TIMEx_ConfigBreakDeadTime(&htim1, &sBreakDeadTimeConfig) != HAL_OK)
  {
    Error_Handler();
  }

}

static void MX_TIM3_Init(void)
{

  TIM_SlaveConfigTypeDef sSlaveConfig = {0};
  TIM_MasterConfigTypeDef sMasterConfig = {0};

  htim3.Instance = TIM3;
  htim3.Init.Prescaler = 0;
  htim3.Init.CounterMode = TIM_COUNTERMODE_UP;
  htim3.Init.Period = 65535;
  htim3.Init.ClockDivision = TIM_CLOCKDIVISION_DIV1;
  htim3.Init.AutoReloadPreload = TIM_AUTORELOAD_PRELOAD_DISABLE;
  if (HAL_TIM_Base_Init(&htim3) != HAL_OK)
  {
    Error_Handler();
  }
  sSlaveConfig.SlaveMode = TIM_SLAVEMODE_EXTERNAL1;
  sSlaveConfig.InputTrigger = TIM_TS_ITR2;
  if (HAL_TIM_SlaveConfigSynchro(&htim3, &sSlaveConfig) != HAL_OK)
  {
    Error_Handler();
  }
  sMasterConfig.MasterOutputTrigger = TIM_TRGO_UPDATE;
  sMasterConfig.MasterSlaveMode = TIM_MASTERSLAVEMODE_ENABLE;
  if (HAL_TIMEx_MasterConfigSynchronization(&htim3, &sMasterConfig) != HAL_OK)
  {
    Error_Handler();
  }

}

static void MX_TIM5_Init(void)
{

  TIM_ClockConfigTypeDef sClockSourceConfig = {0};
  TIM_MasterConfigTypeDef sMasterConfig = {0};

  htim5.Instance = TIM5;
  htim5.Init.Prescaler = 83;
  htim5.Init.CounterMode = TIM_COUNTERMODE_UP;
  htim5.Init.Period = 999;
  htim5.Init.ClockDivision = TIM_CLOCKDIVISION_DIV1;
  htim5.Init.AutoReloadPreload = TIM_AUTORELOAD_PRELOAD_DISABLE;
  if (HAL_TIM_Base_Init(&htim5) != HAL_OK)
  {
    Error_Handler();
  }
  sClockSourceConfig.ClockSource = TIM_CLOCKSOURCE_INTERNAL;
  if (HAL_TIM_ConfigClockSource(&htim5, &sClockSourceConfig) != HAL_OK)
  {
    Error_Handler();
  }
  sMasterConfig.MasterOutputTrigger = TIM_TRGO_UPDATE;
  sMasterConfig.MasterSlaveMode = TIM_MASTERSLAVEMODE_ENABLE;
  if (HAL_TIMEx_MasterConfigSynchronization(&htim5, &sMasterConfig) != HAL_OK)
  {
    Error_Handler();
  }
  /* USER CODE BEGIN TIM5_Init 2 */
  HAL_Delay(1);			//Otherwise, slave timers often start immediately
  /* USER CODE END TIM5_Init 2 */

}

static void MX_TIM6_Init(void)
{

  TIM_MasterConfigTypeDef sMasterConfig = {0};

  htim6.Instance = TIM6;
  htim6.Init.Prescaler = 83;
  htim6.Init.CounterMode = TIM_COUNTERMODE_UP;
  htim6.Init.Period = 104;
  htim6.Init.AutoReloadPreload = TIM_AUTORELOAD_PRELOAD_DISABLE;
  if (HAL_TIM_Base_Init(&htim6) != HAL_OK)
  {
    Error_Handler();
  }
  if (HAL_TIM_OnePulse_Init(&htim6, TIM_OPMODE_SINGLE) != HAL_OK)
  {
    Error_Handler();
  }
  sMasterConfig.MasterOutputTrigger = TIM_TRGO_RESET;
  sMasterConfig.MasterSlaveMode = TIM_MASTERSLAVEMODE_DISABLE;
  if (HAL_TIMEx_MasterConfigSynchronization(&htim6, &sMasterConfig) != HAL_OK)
  {
    Error_Handler();
  }

}

static void MX_TIM7_Init(void)
{

  TIM_MasterConfigTypeDef sMasterConfig = {0};

  htim7.Instance = TIM7;
  htim7.Init.Prescaler = 83;
  htim7.Init.CounterMode = TIM_COUNTERMODE_UP;
  htim7.Init.Period = 104;
  htim7.Init.AutoReloadPreload = TIM_AUTORELOAD_PRELOAD_DISABLE;
  if (HAL_TIM_Base_Init(&htim7) != HAL_OK)
  {
    Error_Handler();
  }
  if (HAL_TIM_OnePulse_Init(&htim7, TIM_OPMODE_SINGLE) != HAL_OK)
  {
    Error_Handler();
  }
  sMasterConfig.MasterOutputTrigger = TIM_TRGO_RESET;
  sMasterConfig.MasterSlaveMode = TIM_MASTERSLAVEMODE_DISABLE;
  if (HAL_TIMEx_MasterConfigSynchronization(&htim7, &sMasterConfig) != HAL_OK)
  {
    Error_Handler();
  }

}

static void MX_TIM13_Init(void)
{

  htim13.Instance = TIM13;
  htim13.Init.Prescaler = 83;
  htim13.Init.CounterMode = TIM_COUNTERMODE_UP;
  htim13.Init.Period = 104;
  htim13.Init.ClockDivision = TIM_CLOCKDIVISION_DIV1;
  htim13.Init.AutoReloadPreload = TIM_AUTORELOAD_PRELOAD_DISABLE;
  if (HAL_TIM_Base_Init(&htim13) != HAL_OK)
  {
    Error_Handler();
  }
  if (HAL_TIM_OnePulse_Init(&htim13, TIM_OPMODE_SINGLE) != HAL_OK)
  {
    Error_Handler();
  }

}

static void MX_GPIO_Init(void)
{
  GPIO_InitTypeDef GPIO_InitStruct = {0};

  /* GPIO Ports Clock Enable */
  __HAL_RCC_GPIOC_CLK_ENABLE();
  __HAL_RCC_GPIOH_CLK_ENABLE();
  __HAL_RCC_GPIOA_CLK_ENABLE();
  __HAL_RCC_GPIOB_CLK_ENABLE();
  __HAL_RCC_GPIOE_CLK_ENABLE();
  __HAL_RCC_GPIOD_CLK_ENABLE();

  /*Configure GPIO pin Output Level */
  HAL_GPIO_WritePin(OTG_FS_PowerSwitchOn_GPIO_Port, OTG_FS_PowerSwitchOn_Pin, GPIO_PIN_SET);

  /*Configure GPIO pin Output Level */
  HAL_GPIO_WritePin(GPIOC, Led1_Pin|Led2_Pin|Led3_Pin|TLV493D_A1B6_Power_3_Pin, GPIO_PIN_RESET);

  /*Configure GPIO pin Output Level */
  HAL_GPIO_WritePin(GPIOA, Led4_Pin|Led5_Pin|Led6_Pin|Led7_Pin
                          |Led8_Pin|Led9_Pin|Led10_Pin, GPIO_PIN_RESET);

  /*Configure GPIO pin Output Level */
  HAL_GPIO_WritePin(TLV493D_A1B6_Power_2_GPIO_Port, TLV493D_A1B6_Power_2_Pin, GPIO_PIN_RESET);

  /*Configure GPIO pin Output Level */
  HAL_GPIO_WritePin(GPIOB, GPIO_PIN_14|TLV493D_A1B6_Power_1_Pin, GPIO_PIN_RESET);

  /*Configure GPIO pin Output Level */
  HAL_GPIO_WritePin(GPIOD, Blue_led_Pin|Red_led_Pin|LD4_Pin|LD3_Pin
                          |LD5_Pin|LD6_Pin, GPIO_PIN_RESET);

  /*Configure GPIO pins : OTG_FS_PowerSwitchOn_Pin Led1_Pin Led2_Pin Led3_Pin
                           TLV493D_A1B6_Power_3_Pin */
  GPIO_InitStruct.Pin = OTG_FS_PowerSwitchOn_Pin|Led1_Pin|Led2_Pin|Led3_Pin
                          |TLV493D_A1B6_Power_3_Pin;
  GPIO_InitStruct.Mode = GPIO_MODE_OUTPUT_PP;
  GPIO_InitStruct.Pull = GPIO_NOPULL;
  GPIO_InitStruct.Speed = GPIO_SPEED_FREQ_LOW;
  HAL_GPIO_Init(GPIOC, &GPIO_InitStruct);

  /*Configure GPIO pin : B1_Pin */
  GPIO_InitStruct.Pin = B1_Pin;
  GPIO_InitStruct.Mode = GPIO_MODE_EVT_RISING;
  GPIO_InitStruct.Pull = GPIO_NOPULL;
  HAL_GPIO_Init(B1_GPIO_Port, &GPIO_InitStruct);

  /*Configure GPIO pins : Led4_Pin Led5_Pin Led6_Pin Led7_Pin
                           Led8_Pin Led9_Pin Led10_Pin */
  GPIO_InitStruct.Pin = Led4_Pin|Led5_Pin|Led6_Pin|Led7_Pin
                          |Led8_Pin|Led9_Pin|Led10_Pin;
  GPIO_InitStruct.Mode = GPIO_MODE_OUTPUT_PP;
  GPIO_InitStruct.Pull = GPIO_NOPULL;
  GPIO_InitStruct.Speed = GPIO_SPEED_FREQ_LOW;
  HAL_GPIO_Init(GPIOA, &GPIO_InitStruct);

  /*Configure GPIO pin : BOOT1_Pin */
  GPIO_InitStruct.Pin = BOOT1_Pin;
  GPIO_InitStruct.Mode = GPIO_MODE_INPUT;
  GPIO_InitStruct.Pull = GPIO_NOPULL;
  HAL_GPIO_Init(BOOT1_GPIO_Port, &GPIO_InitStruct);

  /*Configure GPIO pin : TLV493D_A1B6_Power_2_Pin */
  GPIO_InitStruct.Pin = TLV493D_A1B6_Power_2_Pin;
  GPIO_InitStruct.Mode = GPIO_MODE_OUTPUT_PP;
  GPIO_InitStruct.Pull = GPIO_NOPULL;
  GPIO_InitStruct.Speed = GPIO_SPEED_FREQ_LOW;
  HAL_GPIO_Init(TLV493D_A1B6_Power_2_GPIO_Port, &GPIO_InitStruct);

  /*Configure GPIO pins : PB14 TLV493D_A1B6_Power_1_Pin */
  GPIO_InitStruct.Pin = GPIO_PIN_14|TLV493D_A1B6_Power_1_Pin;
  GPIO_InitStruct.Mode = GPIO_MODE_OUTPUT_PP;
  GPIO_InitStruct.Pull = GPIO_NOPULL;
  GPIO_InitStruct.Speed = GPIO_SPEED_FREQ_LOW;
  HAL_GPIO_Init(GPIOB, &GPIO_InitStruct);

  /*Configure GPIO pins : Blue_led_Pin Red_led_Pin */
  GPIO_InitStruct.Pin = Blue_led_Pin|Red_led_Pin;
  GPIO_InitStruct.Mode = GPIO_MODE_OUTPUT_PP;
  GPIO_InitStruct.Pull = GPIO_NOPULL;
  GPIO_InitStruct.Speed = GPIO_SPEED_FREQ_VERY_HIGH;
  HAL_GPIO_Init(GPIOD, &GPIO_InitStruct);

  /*Configure GPIO pins : LD4_Pin LD3_Pin LD5_Pin LD6_Pin */
  GPIO_InitStruct.Pin = LD4_Pin|LD3_Pin|LD5_Pin|LD6_Pin;
  GPIO_InitStruct.Mode = GPIO_MODE_OUTPUT_PP;
  GPIO_InitStruct.Pull = GPIO_NOPULL;
  GPIO_InitStruct.Speed = GPIO_SPEED_FREQ_LOW;
  HAL_GPIO_Init(GPIOD, &GPIO_InitStruct);

  /*Configure GPIO pin : OTG_FS_OverCurrent_Pin */
  GPIO_InitStruct.Pin = OTG_FS_OverCurrent_Pin;
  GPIO_InitStruct.Mode = GPIO_MODE_INPUT;
  GPIO_InitStruct.Pull = GPIO_NOPULL;
  HAL_GPIO_Init(OTG_FS_OverCurrent_GPIO_Port, &GPIO_InitStruct);

}

void Error_Handler(void)
{
  /* USER CODE BEGIN Error_Handler_Debug */
  /* User can add his own implementation to report the HAL error return state */
  __disable_irq();
  while (1)
  {
	  HAL_GPIO_TogglePin(GPIOD, GPIO_PIN_14);
	  dbg(75)
	  HAL_Delay(300);
  }
  /* USER CODE END Error_Handler_Debug */
}
